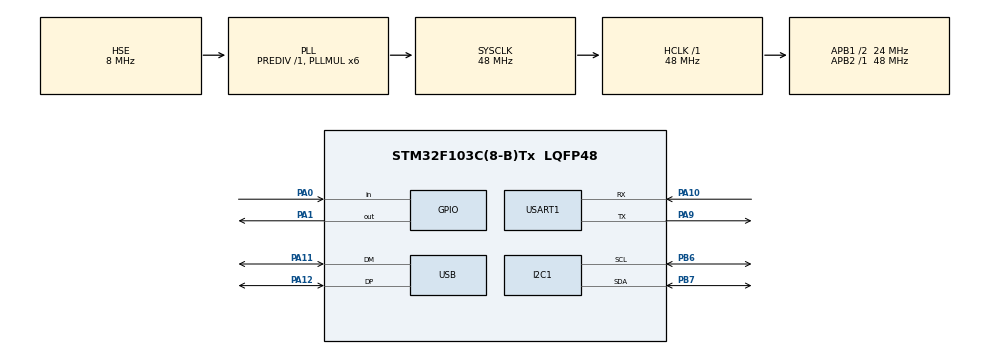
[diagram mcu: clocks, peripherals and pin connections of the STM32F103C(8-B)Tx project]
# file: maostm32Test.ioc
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Dma.Request0=USART1_RX
Dma.USART1_RX.0.Direction=DMA_PERIPH_TO_MEMORY
Dma.USART1_RX.0.Instance=DMA1_Channel5
Dma.USART1_RX.0.MemDataAlignment=DMA_MDATAALIGN_BYTE
Dma.USART1_RX.0.MemInc=DMA_MINC_ENABLE
Dma.USART1_RX.0.Mode=DMA_NORMAL
Dma.USART1_RX.0.PeriphDataAlignment=DMA_PDATAALIGN_BYTE
Dma.USART1_RX.0.PeriphInc=DMA_PINC_DISABLE
Dma.USART1_RX.0.Priority=DMA_PRIORITY_LOW
I2C1.OwnAddress=0x12
Mcu.Family=STM32F1
Mcu.Name=STM32F103C(8-B)Tx
Mcu.Package=LQFP48
NVIC.DMA1_Channel5_IRQn=true\:0\:0\:false\:false\:true\:false\:true\:true
NVIC.I2C1_ER_IRQn=true\:0\:0\:false\:false\:true\:true\:true\:true
NVIC.I2C1_EV_IRQn=true\:0\:0\:false\:false\:true\:true\:true\:true
NVIC.PriorityGroup=NVIC_PRIORITYGROUP_4
NVIC.USART1_IRQn=true\:0\:0\:false\:false\:true\:true\:true\:true
PA0-WKUP.Signal=GPIO_Input
PA1.Signal=GPIO_Output
PA10.Mode=Asynchronous
PA10.Signal=USART1_RX
PA11.Mode=Device
PA11.Signal=USB_DM
PA12.Mode=Device
PA12.Signal=USB_DP
PA13.Mode=Serial_Wire
PA13.Signal=SYS_JTMS-SWDIO
PA14.Mode=Serial_Wire
PA14.Signal=SYS_JTCK-SWCLK
PA9.Mode=Asynchronous
PA9.Signal=USART1_TX
PB6.Mode=I2C
PB6.Signal=I2C1_SCL
PB7.Mode=I2C
PB7.Signal=I2C1_SDA
PD0-OSC_IN.Mode=HSE-External-Oscillator
PD0-OSC_IN.Signal=RCC_OSC_IN
PD1-OSC_OUT.Mode=HSE-External-Oscillator
PD1-OSC_OUT.Signal=RCC_OSC_OUT
ProjectManager.HeapSize=0x200
ProjectManager.StackSize=0x400
ProjectManager.TargetToolchain=STM32CubeIDE
RCC.AHBFreq_Value=48000000
RCC.APB1CLKDivider=RCC_HCLK_DIV2
RCC.APB1Freq_Value=24000000
RCC.APB1TimFreq_Value=48000000
RCC.APB2Freq_Value=48000000
RCC.APB2TimFreq_Value=48000000
RCC.HCLKFreq_Value=48000000
RCC.PLLMUL=RCC_PLL_MUL6
RCC.SYSCLKFreq_VALUE=48000000
RCC.SYSCLKSource=RCC_SYSCLKSOURCE_PLLCLK
RCC.USBFreq_Value=48000000
USART1.VirtualMode=VM_ASYNC
VP_RTC_VS_RTC_Activate.Mode=RTC_Enabled
board=custom

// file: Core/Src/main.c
/* USER CODE BEGIN Header */
/**
  ******************************************************************************
  * @file           : main.c
  * @brief          : Main program body
  ******************************************************************************
  * @attention
  *
  * Copyright (c) 2024 STMicroelectronics.
  * All rights reserved.
  *
  * This software is licensed under terms that can be found in the LICENSE file
  * in the root directory of this software component.
  * If no LICENSE file comes with this software, it is provided AS-IS.
  *
  ******************************************************************************
  */
/* USER CODE END Header */
#include "main.h"

/* USER CODE BEGIN Includes */
#include "stdio.h"
#include "stdbool.h"
#include "string.h"

/* USER CODE END Includes */

/* USER CODE BEGIN PD */
#define COUNTOF(__BUFFER__)   (sizeof(__BUFFER__) / sizeof(*(__BUFFER__)))
/* Size of Transmission buffer */
#define TXBUFFERSIZE                      (COUNTOF(aTxBuffer))
/* Size of Reception buffer */
#define RXBUFFERSIZE                      TXBUFFERSIZE

/* USER CODE END PD */

 I2C_HandleTypeDef hi2c1;

RTC_HandleTypeDef hrtc;

UART_HandleTypeDef huart1;
DMA_HandleTypeDef hdma_usart1_rx;

PCD_HandleTypeDef hpcd_USB_FS;

/* USER CODE BEGIN PV */
__IO uint32_t     Transfer_Direction = 0;
__IO uint32_t     Xfer_Complete = 0;
_Bool cmd_cplt=false;
_Bool I2C_cmd_cplt=false;
uint8_t rx_buff[50],cmd_buff[50],tmp_buff[60];
/* Buffer used for transmission */
uint8_t aTxBuffer[4];
/* Buffer used for reception */
uint8_t aRxBuffer[4];
#define RxBuf_SIZE 20
uint8_t RxBuf[RxBuf_SIZE];
uint8_t getMasterInput = 0;
uint8_t getTransferDirection = 0;
uint8_t i2c_cmdline[6];
uint8_t i2c_rmsg[3];// response String for command
/* USER CODE END PV */

void SystemClock_Config(void);
static void MX_GPIO_Init(void);
static void MX_RTC_Init(void);
static void MX_USB_PCD_Init(void);
static void MX_DMA_Init(void);
static void MX_I2C1_Init(void);
static void MX_USART1_UART_Init(void);
/* USER CODE BEGIN PFP */
#define PUTCHAR_PROTOTYPE int __io_putchar(int ch)
/* USER CODE END PFP */

/* USER CODE BEGIN 0 */

/**
  * @brief  Retargets the C library printf function to the USART.
  *   None
  * @retval None
*/
PUTCHAR_PROTOTYPE
{
  /* Place your implementation of fputc here */
  /* e.g. write a character to the USART1 and Loop until the end of transmission */
  HAL_UART_Transmit(&huart1, (uint8_t *)&ch, 1, 0xFFFF);

  return ch;
}
_Bool exec_i2c_cmd(uint8_t *cmd_buff)
{
	_Bool rslt=true;
	//float val;
	//uint16_t errorCode=0;
	i2c_rmsg[0]=0x7;
	i2c_rmsg[1]=0x7;
	i2c_rmsg[2]=0x7;
    if (HAL_I2C_Slave_Transmit(&hi2c1, (uint8_t*)i2c_rmsg, sizeof(i2c_rmsg),1000)==HAL_OK)
    {
        // printf("Status code %02x,%02x%02x  OK\r\n",res_msg[0],res_msg[1],res_msg[2]);
    }
    else
    {
        printf("Send Response fail!\r\n");
    }

    return rslt;
}
void HAL_UARTEx_RxEventCallback(UART_HandleTypeDef *huart,uint16_t Size)
{
//	uint16_t i;
//    if (huart->Instance==USART1)
//    {
//        for (i=0;i<Size;i++)
//        {
//            if ( (RxBuf[i]==0x0D) || (RxBuf[i]==0x0A) )
//            {
//                rx_buff[rx_idx]=0;
//                //HAL_UART_Transmit(&huart2,"\r\n",2,5); //if received CR(0x0D), then send 0x0A
//                cmd_cplt=true;
//                break;
//            }
//            else if  (RxBuf[i]!=0x0A)
//            {
//                rx_buff[rx_idx++]=RxBuf[i];
//                //HAL_UART_Transmit(&huart2,&rx_buff[i],1,HAL_MAX_DELAY);
//            }
//
//        }
//        if (cmd_cplt)
//        {
//            RxBuf[i]=0x0D;
//            RxBuf[i+1]=0x0A;
//            // RxBuf[Size-1]=0x0D;
//            // RxBuf[Size]=0x0A;
//            HAL_UART_Transmit(&huart2,RxBuf,i+2,HAL_MAX_DELAY);
//            // HAL_UART_Transmit(&huart2,RxBuf,Size+1,HAL_MAX_DELAY);
//        }
//        else
//        {
//            HAL_UART_Transmit(&huart2,RxBuf,Size,HAL_MAX_DELAY);
//        }
//        //memcpy(MainBuf,RxBuf,Size);
//        HAL_UARTEx_ReceiveToIdle_DMA(&huart2,RxBuf,RxBuf_SIZE);
//        __HAL_DMA_DISABLE_IT(&hdma_usart2_rx,DMA_IT_HT);
//        //HAL_UART_Transmit(&huart2,MainBuf,Size,10);
//    }
    if(huart->Instance==USART1)
    {

    	 HAL_UART_Transmit(&huart1,RxBuf,RxBuf_SIZE,HAL_MAX_DELAY);
    	 HAL_UARTEx_ReceiveToIdle_DMA(&huart1,RxBuf,RxBuf_SIZE);
    	 __HAL_DMA_DISABLE_IT(&hdma_usart1_rx,DMA_IT_HT);
    }

}
/**
  * @brief  Tx Transfer completed callback.
  *   I2cHandle: I2C handle.
  * @note   This example shows a simple way to report end of IT Tx transfer, and
  *         you can add your own implementation.
  * @retval None
*/
void HAL_I2C_SlaveTxCpltCallback(I2C_HandleTypeDef *I2cHandle)
{
	printf("cbak tx  buffer 0x%02x 0x%02x 0x%02x 0x%02x \r\n",
			aTxBuffer[0],
			aTxBuffer[1],
			aTxBuffer[2],
			aTxBuffer[3]);
	Xfer_Complete = 1;
	aTxBuffer[0]++;
	aTxBuffer[1]++;
	aTxBuffer[2]++;
	aTxBuffer[3]++;

}
/**
  * @brief  Rx Transfer completed callback.
  *   I2cHandle: I2C handle
  * @note   This example shows a simple way to report end of IT Rx transfer, and
  *         you can add your own implementation.
  * @retval None
*/
void HAL_I2C_SlaveRxCpltCallback(I2C_HandleTypeDef *I2cHandle)
{
//	printf("rcv rx buffer 0x%02x 0x%02x 0x%02x 0x%02x \r\n",
//			aRxBuffer[0],
//			aRxBuffer[1],
//			aRxBuffer[2],
//			aRxBuffer[3]);
//	Xfer_Complete = 1;
//	aRxBuffer[0]=0x00;
//	aRxBuffer[1]=0x00;
//	aRxBuffer[2]=0x00;
//	aRxBuffer[3]=0x00;
	printf("rcv rx buffer 0x%02x 0x%02x 0x%02x 0x%02x 0x%02x 0x%02x \r\n",
			i2c_cmdline[0],
			i2c_cmdline[1],
			i2c_cmdline[2],
			i2c_cmdline[3],
			i2c_cmdline[4],
			i2c_cmdline[5]);
	I2C_cmd_cplt=true;
}

/**
  * @brief  Slave Address Match callback.
  *   hi2c Pointer to a I2C_HandleTypeDef structure that contains
  *                the configuration information for the specified I2C.
  *   TransferDirection: Master request Transfer Direction (Write/Read), value of @ref I2C_XferOptions_definition
  *   AddrMatchCode: Address Match Code
  * @retval None
*/
void HAL_I2C_AddrCallback(I2C_HandleTypeDef *hi2c, uint8_t TransferDirection, uint16_t AddrMatchCode)
{
//	Transfer_Direction = TransferDirection;
//	printf("_AddrCallback dir %d \r\n",TransferDirection);
//	if (Transfer_Direction != 0)
//	{
//		/*##- Start the transmission process #####################################*/
//		/* While the I2C in reception process, user can transmit data through
//	 	 "aTxBuffer" buffer */
//		if (HAL_I2C_Slave_Seq_Transmit_IT(&hi2c1, (uint8_t *)aTxBuffer, TXBUFFERSIZE, I2C_FIRST_AND_LAST_FRAME) != HAL_OK)
//		{
//			/* Transfer error in transmission process */
//			printf("HAL_I2C_Slave_Seq_Transmit_IT set err \r\n");
//			Error_Handler();
//		}
//		printf("HAL_I2C_Slave_Seq_Transmit_IT was set \r\n");
//	}
//	else
//	{
//
//		/*##- Put I2C peripheral in reception process ###########################*/
//		if (HAL_I2C_Slave_Seq_Receive_IT(&hi2c1, (uint8_t *)aRxBuffer, RXBUFFERSIZE, I2C_FIRST_AND_LAST_FRAME) != HAL_OK)
//		{
//			/* Transfer error in reception process */
//			Error_Handler();
//			printf("HAL_I2C_Slave_Seq_Receive_IT set err \r\n");
//		}
//		printf("HAL_I2C_Slave_Seq_Receive_IT was set \r\n");
//
//	}
//	getMasterInput = 1;
//	getTransferDirection = TransferDirection;
}

/**
  * @brief  Listen Complete callback.
  *   hi2c Pointer to a I2C_HandleTypeDef structure that contains
  *                the configuration information for the specified I2C.
  * @retval None
*/
void HAL_I2C_ListenCpltCallback(I2C_HandleTypeDef *hi2c)
{
	printf("ListenCpltCallback\r\n");
	Xfer_Complete = 1;//123321

}

/**
  * @brief  I2C error callbacks.
  *   I2cHandle: I2C handle
  * @note   This example shows a simple way to report transfer error, and you can
  *         add your own implementation.
  * @retval None
*/

void HAL_I2C_ErrorCallback(I2C_HandleTypeDef *I2cHandle)
{
	/** Error_Handler() function is called when error occurs.
	* 1- When Slave doesn't acknowledge its address, Master restarts communication.
	* 2- When Master doesn't acknowledge the last data transferred, Slave doesn't care in this example.
	*/
	printf("I2C_ErrorCallback..\r\n");
	if (HAL_I2C_GetError(I2cHandle) != HAL_I2C_ERROR_AF)
	{
		printf("I2C rub Error_hdl\r\n");
		Error_Handler();
	}
	//restart i2c irq
	if(HAL_I2C_Slave_Receive_IT(&hi2c1, (uint8_t *)i2c_cmdline, sizeof(i2c_cmdline)) != HAL_OK)  //I2C Slave Read
	{
	  // Transfer error in reception process
	  printf("Slave Received_IT Fail\r\n");
	  Error_Handler();
	}
}

/* USER CODE END 0 */

int main(void)
{

  /* MCU Configuration--------------------------------------------------------*/

  /* Reset of all peripherals, Initializes the Flash interface and the Systick. */
  HAL_Init();

  /* Configure the system clock */
  SystemClock_Config();

  /* Initialize all configured peripherals */
  MX_GPIO_Init();
  MX_RTC_Init();
  MX_USB_PCD_Init();
  MX_DMA_Init();
  MX_I2C1_Init();
  MX_USART1_UART_Init();
  /* USER CODE BEGIN 2 */
  //printf("test i2c1 init down \r\n");
//  if(HAL_I2C_EnableListen_IT(&hi2c1) != HAL_OK)
//  {
//      /* Transfer error in reception process */
//      Error_Handler();
//  }
//  else
//  {
//	  printf("i2c1 _EnableListen_IT \r\n");
//  }

  /* USER CODE END 2 */

  /* Infinite loop */
  /* USER CODE BEGIN WHILE */
  HAL_Delay(500);
  HAL_UART_Transmit(&huart1,(uint8_t *)"OK>\r\n",3,100);
  //UART DMA Receive
  HAL_UARTEx_ReceiveToIdle_DMA(&huart1,RxBuf,sizeof(RxBuf));
  __HAL_DMA_DISABLE_IT(&hdma_usart1_rx,DMA_IT_HT);
  // HAL_GPIO_WritePin(GPIOC,GPIO_PIN_14,PIN_LOW); //test pin of I2C exec time

  //HAL_UART_Receive_IT(&huart2,&rx_char,sizeof(rx_char));
  if(HAL_I2C_Slave_Receive_IT(&hi2c1, (uint8_t *)i2c_cmdline, sizeof(i2c_cmdline)) != HAL_OK)  //I2C Slave Read
  {
	  /* Transfer error in reception process */
	  printf("Slave Received_IT Fail\r\n");
	  //errFlag=1;
	  Error_Handler();
  }
  while (1)
  {
	  if (cmd_cplt)
	  {
		  //__HAL_UART_DISABLE_IT(&huart2,UART_IT_RXNE);
		  strcpy((char *)cmd_buff,(char *)rx_buff);
		  //exec_uart_cmd(cmd_buff);
		  //rx_idx=0;
		  cmd_cplt=false;
		  // printf(cmd_buff,"\n%s\r\n",cmd_buff);
		  //__HAL_UART_ENABLE_IT(&huart2,UART_IT_RXNE);
	  }
	  if (I2C_cmd_cplt)
	  {
		  exec_i2c_cmd(i2c_cmdline);
		  //HAL_GPIO_WritePin(GPIOC,GPIO_PIN_14,PIN_LOW);

		  I2C_cmd_cplt=false;
		  if(HAL_I2C_Slave_Receive_IT(&hi2c1, (uint8_t *)i2c_cmdline, sizeof(i2c_cmdline)) != HAL_OK)  //I2C Slave Read
		  {
			  // Transfer error in reception process
			  printf("Slave Received_IT Fail\r\n");
			  //errFlag=2;
			  Error_Handler();
		  }
	  }

    /* USER CODE END WHILE */

  }
}

void SystemClock_Config(void)
{
  RCC_OscInitTypeDef RCC_OscInitStruct = {0};
  RCC_ClkInitTypeDef RCC_ClkInitStruct = {0};
  RCC_PeriphCLKInitTypeDef PeriphClkInit = {0};

  /** Initializes the RCC Oscillators according to the specified parameters
  * in the RCC_OscInitTypeDef structure.
  */
  RCC_OscInitStruct.OscillatorType = RCC_OSCILLATORTYPE_LSI|RCC_OSCILLATORTYPE_HSE;
  RCC_OscInitStruct.HSEState = RCC_HSE_ON;
  RCC_OscInitStruct.HSEPredivValue = RCC_HSE_PREDIV_DIV1;
  RCC_OscInitStruct.HSIState = RCC_HSI_ON;
  RCC_OscInitStruct.LSIState = RCC_LSI_ON;
  RCC_OscInitStruct.PLL.PLLState = RCC_PLL_ON;
  RCC_OscInitStruct.PLL.PLLSource = RCC_PLLSOURCE_HSE;
  RCC_OscInitStruct.PLL.PLLMUL = RCC_PLL_MUL6;
  if (HAL_RCC_OscConfig(&RCC_OscInitStruct) != HAL_OK)
  {
    Error_Handler();
  }

  /** Initializes the CPU, AHB and APB buses clocks
  */
  RCC_ClkInitStruct.ClockType = RCC_CLOCKTYPE_HCLK|RCC_CLOCKTYPE_SYSCLK
                              |RCC_CLOCKTYPE_PCLK1|RCC_CLOCKTYPE_PCLK2;
  RCC_ClkInitStruct.SYSCLKSource = RCC_SYSCLKSOURCE_PLLCLK;
  RCC_ClkInitStruct.AHBCLKDivider = RCC_SYSCLK_DIV1;
  RCC_ClkInitStruct.APB1CLKDivider = RCC_HCLK_DIV2;
  RCC_ClkInitStruct.APB2CLKDivider = RCC_HCLK_DIV1;

  if (HAL_RCC_ClockConfig(&RCC_ClkInitStruct, FLASH_LATENCY_1) != HAL_OK)
  {
    Error_Handler();
  }
  PeriphClkInit.PeriphClockSelection = RCC_PERIPHCLK_RTC|RCC_PERIPHCLK_USB;
  PeriphClkInit.RTCClockSelection = RCC_RTCCLKSOURCE_LSI;
  PeriphClkInit.UsbClockSelection = RCC_USBCLKSOURCE_PLL;
  if (HAL_RCCEx_PeriphCLKConfig(&PeriphClkInit) != HAL_OK)
  {
    Error_Handler();
  }
}

static void MX_I2C1_Init(void)
{

  hi2c1.Instance = I2C1;
  hi2c1.Init.ClockSpeed = 100000;
  hi2c1.Init.DutyCycle = I2C_DUTYCYCLE_2;
  hi2c1.Init.OwnAddress1 = 36;
  hi2c1.Init.AddressingMode = I2C_ADDRESSINGMODE_7BIT;
  hi2c1.Init.DualAddressMode = I2C_DUALADDRESS_DISABLE;
  hi2c1.Init.OwnAddress2 = 0;
  hi2c1.Init.GeneralCallMode = I2C_GENERALCALL_DISABLE;
  hi2c1.Init.NoStretchMode = I2C_NOSTRETCH_DISABLE;
  if (HAL_I2C_Init(&hi2c1) != HAL_OK)
  {
    Error_Handler();
  }

}

static void MX_RTC_Init(void)
{

  /** Initialize RTC Only
  */
  hrtc.Instance = RTC;
  hrtc.Init.AsynchPrediv = RTC_AUTO_1_SECOND;
  hrtc.Init.OutPut = RTC_OUTPUTSOURCE_ALARM;
  if (HAL_RTC_Init(&hrtc) != HAL_OK)
  {
    Error_Handler();
  }

}

static void MX_USART1_UART_Init(void)
{

  huart1.Instance = USART1;
  huart1.Init.BaudRate = 115200;
  huart1.Init.WordLength = UART_WORDLENGTH_8B;
  huart1.Init.StopBits = UART_STOPBITS_1;
  huart1.Init.Parity = UART_PARITY_NONE;
  huart1.Init.Mode = UART_MODE_TX_RX;
  huart1.Init.HwFlowCtl = UART_HWCONTROL_NONE;
  huart1.Init.OverSampling = UART_OVERSAMPLING_16;
  if (HAL_UART_Init(&huart1) != HAL_OK)
  {
    Error_Handler();
  }

}

static void MX_USB_PCD_Init(void)
{

  hpcd_USB_FS.Instance = USB;
  hpcd_USB_FS.Init.dev_endpoints = 8;
  hpcd_USB_FS.Init.speed = PCD_SPEED_FULL;
  hpcd_USB_FS.Init.low_power_enable = DISABLE;
  hpcd_USB_FS.Init.lpm_enable = DISABLE;
  hpcd_USB_FS.Init.battery_charging_enable = DISABLE;
  if (HAL_PCD_Init(&hpcd_USB_FS) != HAL_OK)
  {
    Error_Handler();
  }

}

static void MX_DMA_Init(void)
{

  /* DMA controller clock enable */
  __HAL_RCC_DMA1_CLK_ENABLE();

  /* DMA interrupt init */
  /* DMA1_Channel5_IRQn interrupt configuration */
  HAL_NVIC_SetPriority(DMA1_Channel5_IRQn, 0, 0);
  HAL_NVIC_EnableIRQ(DMA1_Channel5_IRQn);

}

static void MX_GPIO_Init(void)
{
  GPIO_InitTypeDef GPIO_InitStruct = {0};

  /* GPIO Ports Clock Enable */
  __HAL_RCC_GPIOD_CLK_ENABLE();
  __HAL_RCC_GPIOA_CLK_ENABLE();
  __HAL_RCC_GPIOB_CLK_ENABLE();

  /*Configure GPIO pin Output Level */
  HAL_GPIO_WritePin(GPIOA, GPIO_PIN_1, GPIO_PIN_RESET);

  /*Configure GPIO pin : PA0 */
  GPIO_InitStruct.Pin = GPIO_PIN_0;
  GPIO_InitStruct.Mode = GPIO_MODE_INPUT;
  GPIO_InitStruct.Pull = GPIO_NOPULL;
  HAL_GPIO_Init(GPIOA, &GPIO_InitStruct);

  /*Configure GPIO pin : PA1 */
  GPIO_InitStruct.Pin = GPIO_PIN_1;
  GPIO_InitStruct.Mode = GPIO_MODE_OUTPUT_PP;
  GPIO_InitStruct.Pull = GPIO_NOPULL;
  GPIO_InitStruct.Speed = GPIO_SPEED_FREQ_LOW;
  HAL_GPIO_Init(GPIOA, &GPIO_InitStruct);

}

void Error_Handler(void)
{
  __disable_irq();
  while (1)
  {
  }
}
